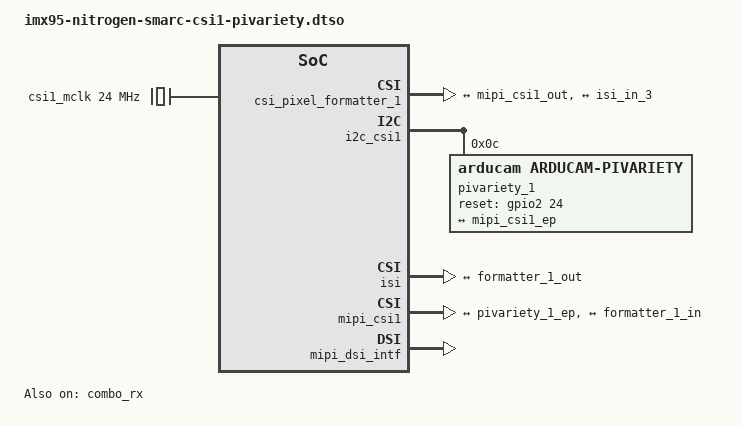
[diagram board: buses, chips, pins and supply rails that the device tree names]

// SPDX-License-Identifier: (GPL-2.0+ OR MIT)
/*
 * Copyright 2024 Ezurio LLC
 */

/dts-v1/;
/plugin/;

#include <dt-bindings/gpio/gpio.h>

#include "imx95-pinfunc.h"

&{/} {
	csi1_mclk: csi1-mclk {
		#clock-cells = <0>;
		clock-frequency = <24000000>;
		compatible = "fixed-clock";
	};
};

&combo_rx {
	status = "okay";
};

&csi_pixel_formatter_1 {
	status = "okay";

	ports {
		#address-cells = <1>;
		#size-cells = <0>;

		port@0 {
			reg = <0>;

			formatter_1_in: endpoint {
				remote-endpoint = <&mipi_csi1_out>;
			};
		};

		port@1 {
			reg = <1>;

			formatter_1_out: endpoint {
				remote-endpoint = <&isi_in_3>;
			};
		};
	};
};

&display_stream_csr {
	status = "disabled";
};

&display_master_csr {
	status = "disabled";
};

&i2c_csi1 {
	#address-cells = <1>;
	#size-cells = <0>;
	status = "okay";

	pivariety_1: camera@c {
		compatible = "arducam,arducam-pivariety";
		reg = <0x0c>;
		pinctrl-names = "default";
		pinctrl-0 = <&pinctrl_csi1_camera>;
		clocks = <&csi1_mclk>;
		clock-names = "xclk";
		reset-gpios = <&gpio2 24 GPIO_ACTIVE_HIGH>;
		status = "okay";

		port {
			pivariety_1_ep: endpoint {
				remote-endpoint = <&mipi_csi1_ep>;
				clock-lanes = <0>;
				data-lanes = <1 2 3 4>;
			};
		};
	};
};

&isi {
	status = "okay";

	ports {
		#address-cells = <1>;
		#size-cells = <0>;

		port@3 {
			reg = <3>;

			isi_in_3: endpoint {
				remote-endpoint = <&formatter_1_out>;
			};
		};
	};
};

&mipi_csi1 {
	status = "okay";

	ports {
		#address-cells = <1>;
		#size-cells = <0>;

		port@0 {
			reg = <0>;
			mipi_csi1_ep: endpoint {
				remote-endpoint = <&pivariety_1_ep>;
				data-lanes = <1 2 3 4>;
				clock-lanes = <0>;
			};
		};

		port@1 {
			reg = <1>;
				mipi_csi1_out: endpoint {
				remote-endpoint = <&formatter_1_in>;
			};
		};
	};
};

&mipi_dsi_intf {
	status = "okay";
};

&mipi_tx_phy_csr {
	status = "disabled";
};

&scmi_iomuxc {
	pinctrl_csi1_camera: csi1-cameragrp {
		fsl,pins = <
			IMX95_PAD_GPIO_IO24__GPIO2_IO_BIT24	0x31e
		>;
	};
};
